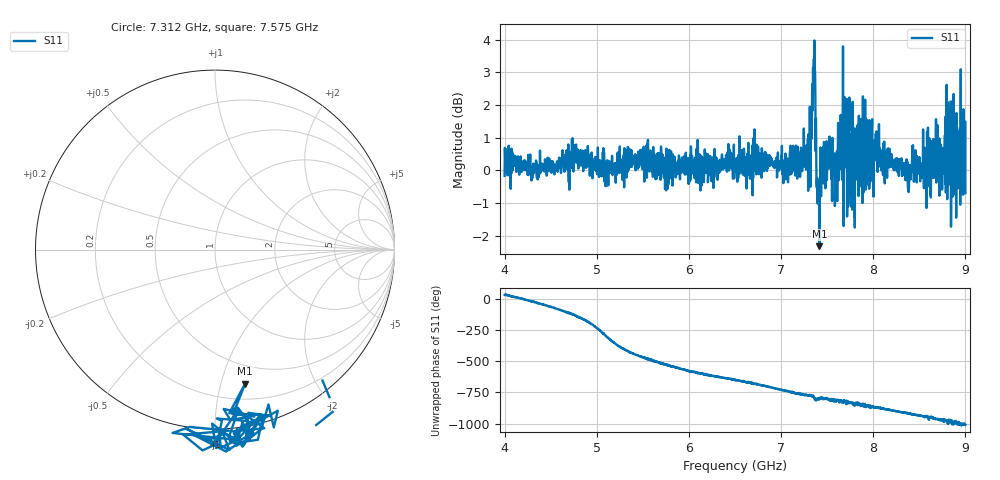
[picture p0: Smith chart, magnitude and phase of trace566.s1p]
! Created with skrf 1.8.0 (http://scikit-rf.org).
# Hz S RI R 50.0
!freq ReS11 ImS11
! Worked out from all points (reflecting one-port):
!   1601 points, 4 GHz to 9 GHz, reference 50 ohm
!   lowest |S11| = -2.3 dB at 7.416 GHz (marker M1), VSWR 7.53, Z = 16.5 - j59.7 ohm
!   phase of S11 starts at 34 deg and turns -1046 deg over the sweep
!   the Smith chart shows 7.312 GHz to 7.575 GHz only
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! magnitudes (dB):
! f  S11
! 4 GHz  -0.2
! 4.625 GHz  0.4
! 5.109 GHz  -0.1
! 5.25 GHz  0.7
! 5.875 GHz  -0.1
! 6.5 GHz  0.2
! 7.125 GHz  0.1
! 7.294 GHz  -0.6
! 7.319 GHz  -0.5
! 7.347 GHz  3.1
! 7.366 GHz  3.0
! 7.4 GHz  -0.4
! 7.416 GHz  -2.3
! 7.453 GHz  -0.3
! 7.538 GHz  1.0
! 7.588 GHz  -0.2
! 7.688 GHz  2.2
! 7.75 GHz  0.0
! 7.784 GHz  0.0
! 7.891 GHz  0.2
! 7.981 GHz  0.0
! 8.038 GHz  0.6
! 8.375 GHz  -0.4
! 8.766 GHz  0.5
! 8.816 GHz  -0.4
! 8.869 GHz  0.1
! 8.972 GHz  0.3
! 9 GHz  -0.7
